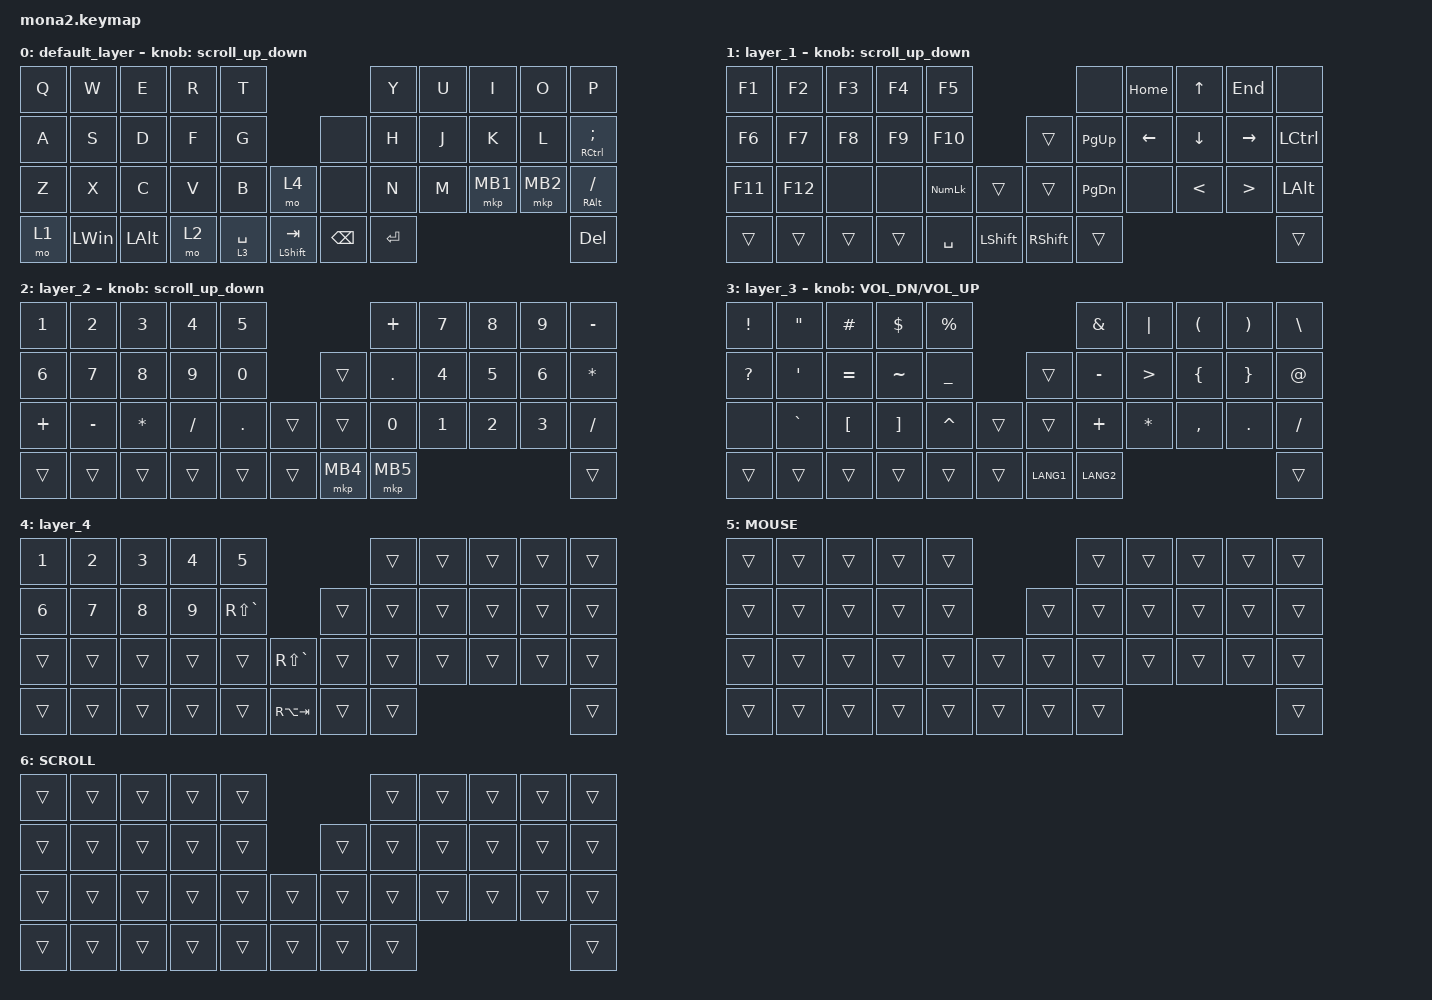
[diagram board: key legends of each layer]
#include <input/processors.dtsi>
#include <dt-bindings/zmk/input_transform.h>
#include <zephyr/dt-bindings/input/input-event-codes.h>
#include <behaviors.dtsi>
#include <dt-bindings/zmk/bt.h>
#include <dt-bindings/zmk/keys.h>
#include <dt-bindings/zmk/pointing.h>

#define ZMK_POINTING_DEFAULT_SCRL_VAL 100
#define MOUSE 5
#define SCROLL 6

&mt {
    flavor = "hold-preferred";
    quick-tap-ms = <0>;
};

&lt { flavor = "hold-preferred"; };

/ {
    combos {
        compatible = "zmk,combos";

        bt1 {
            bindings = <&bt BT_SEL 0>;
            key-positions = <26 15>;
        };

        bt0 {
            bindings = <&bt BT_SEL 1>;
            key-positions = <26 27>;
        };

        bt_clr {
            bindings = <&bt BT_CLR>;
            key-positions = <26 27 15>;
        };

        middl_click {
            bindings = <&mkp MB3>;
            key-positions = <30 31>;
        };

        esc {
            bindings = <&kp ESC>;
            key-positions = <0 1>;
        };

        bt2 {
            bindings = <&bt BT_SEL 2>;
            key-positions = <27 15>;
        };
    };

    macros {
        to_layer_0: to_layer_0 {
            compatible = "zmk,behavior-macro-one-param";
            #binding-cells = <1>;
            bindings = <&to 0 &macro_param_1to1 &kp MACRO_PLACEHOLDER>;
            label = "TO_LAYER_0";
        };
    };

    behaviors {
        lt_to_layer_0: lt_to_layer_0 {
            compatible = "zmk,behavior-hold-tap";
            label = "LAYER_TAP_TO_0";
            bindings = <&mo>, <&to_layer_0>;

            #binding-cells = <2>;
            tapping-term-ms = <200>;
        };

        scroll_up_down: behavior_sensor_rotate_mouse_wheel_up_down {
            compatible = "zmk,behavior-sensor-rotate";
            #sensor-binding-cells = <0>;
            bindings = <&msc SCRL_UP>, <&msc SCRL_DOWN>;

            tap-ms = <20>;
        };

        tog_off: toggle_layer_off {
            compatible = "zmk,behavior-toggle-layer";
            #binding-cells = <1>;
            display-name = "Toggle Layer Off";
            toggle-mode = "off";
        };

        mt_rt: mt_retro_tap {
            compatible = "zmk,behavior-hold-tap";
            #binding-cells = <2>;
            flavor = "balanced";
            retro-tap;
            bindings = <&kp>, <&kp>;

            tapping-term-ms = <200>;
        };

        hml: home_row_mod_left {
            compatible = "zmk,behavior-hold-tap";
            #binding-cells = <2>;
            flavor = "balanced";
            require-prior-idle-ms = <200>;
            tapping-term-ms = <280>;
            quick-tap-ms = <160>;
            bindings = <&kp>, <&kp>;

            hold-trigger-key-positions = <5 6 7 8 9 15 16 17 18 19 20 26 27 28 29 30 31 32 33 34 35 36 37 38 39 40 41>;
            hold-trigger-on-release;
        };

        hmr: home_row_mod_right {
            compatible = "zmk,behavior-hold-tap";
            #binding-cells = <2>;
            flavor = "balanced";
            require-prior-idle-ms = <200>;
            tapping-term-ms = <280>;
            quick-tap-ms = <160>;
            bindings = <&kp>, <&kp>;

            hold-trigger-key-positions = <0 1 2 3 4 10 11 12 13 14 15 21 22 23 24 25 26 27 33 34 35 36 37 38 39 40 41>;
            hold-trigger-on-release;
        };
    };

    keymap {
        compatible = "zmk,keymap";

        default_layer {
            bindings = <
&kp Q  &kp W         &kp E         &kp R  &kp T                                        &kp Y      &kp U  &kp I     &kp O     &kp P
&kp A  &kp S         &kp D         &kp F  &kp G                         &none          &kp H      &kp J  &kp K     &kp L     &mt RCTRL SEMI
&kp Z  &kp X         &kp C         &kp V  &kp B        &mo 4            &none          &kp N      &kp M  &mkp MB1  &mkp MB2  &mt RALT SLASH
&mo 1  &kp LEFT_WIN  &kp LEFT_ALT  &mo 2  &lt 3 SPACE  &mt LSHFT TAB    &kp BACKSPACE  &kp ENTER                             &kp DEL
            >;

            sensor-bindings = <&scroll_up_down>;
        };

        layer_1 {
            bindings = <
&kp F1   &kp F2   &kp F3  &kp F4  &kp F5                                   &none      &kp HOME  &kp UP_ARROW    &kp END           &none
&kp F6   &kp F7   &kp F8  &kp F9  &kp F10                      &trans      &kp PG_UP  &kp LEFT  &kp DOWN_ARROW  &kp RIGHT         &kp LCTRL
&kp F11  &kp F12  &none   &none   &kp KP_NUMLOCK  &trans       &trans      &kp PG_DN  &none     &kp LT          &kp GREATER_THAN  &kp LALT
&trans   &trans   &trans  &trans  &kp SPACE       &kp LSHFT    &kp RSHIFT  &trans                                                 &trans
            >;

            sensor-bindings = <&scroll_up_down>;
        };

        layer_2 {
            bindings = <
&kp NUMBER_1  &kp NUMBER_2  &kp NUMBER_3  &kp NUMBER_4  &kp NUMBER_5                      &kp PLUS  &kp N7        &kp N8  &kp N9  &kp MINUS
&kp NUMBER_6  &kp NUMBER_7  &kp NUMBER_8  &kp NUMBER_9  &kp NUMBER_0            &trans    &kp DOT   &kp N4        &kp N5  &kp N6  &kp ASTRK
&kp PLUS      &kp MINUS     &kp ASTERISK  &kp SLASH     &kp DOT       &trans    &trans    &kp N0    &kp NUMBER_1  &kp N2  &kp N3  &kp SLASH
&trans        &trans        &trans        &trans        &trans        &trans    &mkp MB4  &mkp MB5                                &trans
            >;

            sensor-bindings = <&scroll_up_down>;
        };

        layer_3 {
            bindings = <
&kp EXCLAMATION  &kp DQT    &kp HASH   &kp DOLLAR  &kp PERCENT                          &kp AMPERSAND  &kp PIPE          &kp LEFT_PARENTHESIS  &kp RIGHT_PARENTHESIS  &kp BACKSLASH
&kp QUESTION     &kp SQT    &kp EQUAL  &kp TILDE   &kp UNDERSCORE            &trans     &kp MINUS      &kp GREATER_THAN  &kp LEFT_BRACE        &kp RIGHT_BRACE        &kp AT_SIGN
&none            &kp GRAVE  &kp LBKT   &kp RBKT    &kp CARET       &trans    &trans     &kp PLUS       &kp ASTERISK      &kp COMMA             &kp PERIOD             &kp SLASH
&trans           &trans     &trans     &trans      &trans          &trans    &kp LANG1  &kp LANG2                                                                     &trans
            >;

            sensor-bindings = <&inc_dec_kp C_VOL_DN C_VOL_UP>;
        };

        layer_4 {
            bindings = <
&kp N1  &kp N2  &kp N3  &kp N4  &kp N5                                  &trans  &trans  &trans  &trans  &trans
&kp N6  &kp N7  &kp N8  &kp N9  &kp RS(GRAVE)                   &trans  &trans  &trans  &trans  &trans  &trans
&trans  &trans  &trans  &trans  &trans         &kp RS(GRAVE)    &trans  &trans  &trans  &trans  &trans  &trans
&trans  &trans  &trans  &trans  &trans         &kp RA(TAB)      &trans  &trans                          &trans
            >;
        };

        MOUSE {
            bindings = <
&trans  &trans  &trans  &trans  &trans                    &trans  &trans  &trans  &trans  &trans
&trans  &trans  &trans  &trans  &trans            &trans  &trans  &trans  &trans  &trans  &trans
&trans  &trans  &trans  &trans  &trans  &trans    &trans  &trans  &trans  &trans  &trans  &trans
&trans  &trans  &trans  &trans  &trans  &trans    &trans  &trans                          &trans
            >;
        };

        SCROLL {
            bindings = <
&trans  &trans  &trans  &trans  &trans                    &trans  &trans  &trans  &trans  &trans
&trans  &trans  &trans  &trans  &trans            &trans  &trans  &trans  &trans  &trans  &trans
&trans  &trans  &trans  &trans  &trans  &trans    &trans  &trans  &trans  &trans  &trans  &trans
&trans  &trans  &trans  &trans  &trans  &trans    &trans  &trans                          &trans
            >;
        };
    };
};
